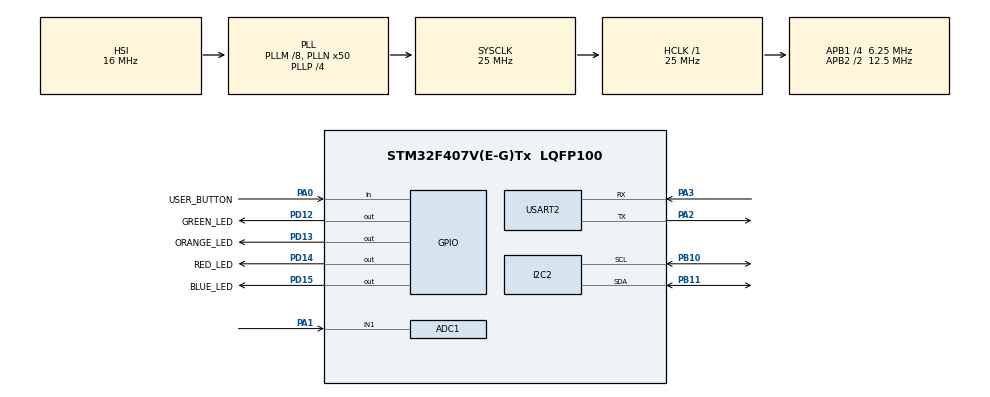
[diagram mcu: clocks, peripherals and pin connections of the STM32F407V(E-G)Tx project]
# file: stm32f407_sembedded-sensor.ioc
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ADC1.Channel-0\#ChannelRegularConversion=ADC_CHANNEL_1
ADC1.NbrOfConversionFlag=1
ADC1.Rank-0\#ChannelRegularConversion=1
ADC1.SamplingTime-0\#ChannelRegularConversion=ADC_SAMPLETIME_144CYCLES
ADC1.master=1
Mcu.Family=STM32F4
Mcu.Name=STM32F407V(E-G)Tx
Mcu.Package=LQFP100
NVIC.PriorityGroup=NVIC_PRIORITYGROUP_0
PA0-WKUP.GPIO_Label=USER_BUTTON
PA0-WKUP.Signal=GPIO_Input
PA1.Signal=ADCx_IN1
PA2.Mode=Asynchronous
PA2.Signal=USART2_TX
PA3.Mode=Asynchronous
PA3.Signal=USART2_RX
PB10.Mode=I2C
PB10.Signal=I2C2_SCL
PB11.Mode=I2C
PB11.Signal=I2C2_SDA
PD12.GPIO_Label=GREEN_LED
PD12.Signal=GPIO_Output
PD13.GPIO_Label=ORANGE_LED
PD13.Signal=GPIO_Output
PD14.GPIO_Label=RED_LED
PD14.Signal=GPIO_Output
PD15.GPIO_Label=BLUE_LED
PD15.Signal=GPIO_Output
ProjectManager.HeapSize=0x200
ProjectManager.StackSize=0x400
ProjectManager.TargetToolchain=STM32CubeIDE
RCC.48MHZClocksFreq_Value=14285714.285714285
RCC.AHBFreq_Value=25000000
RCC.APB1CLKDivider=RCC_HCLK_DIV4
RCC.APB1Freq_Value=6250000
RCC.APB1TimFreq_Value=12500000
RCC.APB2CLKDivider=RCC_HCLK_DIV2
RCC.APB2Freq_Value=12500000
RCC.APB2TimFreq_Value=25000000
RCC.CortexFreq_Value=25000000
RCC.HCLKFreq_Value=25000000
RCC.HSE_VALUE=8000000
RCC.HSI_VALUE=16000000
RCC.LSE_VALUE=32768
RCC.PLLM=8
RCC.PLLN=50
RCC.PLLP=RCC_PLLP_DIV4
RCC.PLLQ=7
RCC.SYSCLKFreq_VALUE=25000000
RCC.SYSCLKSource=RCC_SYSCLKSOURCE_PLLCLK
RCC.VCOOutputFreq_Value=100000000
SH.ADCx_IN1.0=ADC1_IN1,IN1
USART2.VirtualMode=VM_ASYNC
board=STM32F407G-DISC1

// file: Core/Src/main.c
/* USER CODE BEGIN Header */
/**
  ******************************************************************************
  * @file           : main.c
  * @brief          : Main program body
  ******************************************************************************
  * @attention
  *
  * Copyright (c) 2026 STMicroelectronics.
  * All rights reserved.
  *
  * This software is licensed under terms that can be found in the LICENSE file
  * in the root directory of this software component.
  * If no LICENSE file comes with this software, it is provided AS-IS.
  *
  ******************************************************************************
  */
/* USER CODE END Header */
#include "main.h"
#include "adc.h"
#include "i2c.h"
#include "usart.h"
#include "gpio.h"

/* USER CODE BEGIN Includes */

#include <stdio.h>
#include <string.h>

/* USER CODE END Includes */

/* USER CODE BEGIN PTD */

typedef enum {
	ADC_LOW,
	ADC_OK,
	ADC_HIGH,
	ADC_ERROR
} AdcSituation_t;

typedef struct
{
    uint16_t dig_T1;
    int16_t  dig_T2;
    int16_t  dig_T3;

    uint16_t dig_P1;
    int16_t  dig_P2;
    int16_t  dig_P3;
    int16_t  dig_P4;
    int16_t  dig_P5;
    int16_t  dig_P6;
    int16_t  dig_P7;
    int16_t  dig_P8;
    int16_t  dig_P9;
} BMP280_CalibData_t;

typedef struct
{
    int32_t raw_temperature;
    int32_t raw_pressure;
} BMP280_RawData_t;

/* USER CODE END PTD */

/* USER CODE BEGIN PD */

#define UART_LOG_INTERVAL_MS		1000
#define ADC_SAMPLE_COUNT 			10
#define BME280_I2C_ADDR         	(0x77 << 1)
#define BME280_REG_CHIP_ID      	0xD0
#define BME280_CHIP_ID  			0x60
#define BMP280_CHIP_ID          	0x58
#define BMP280_REG_CALIB_START		0x88
#define BMP280_CALIB_DATA_LENGTH	24

#define BMP280_REG_STATUS           0xF3
#define BMP280_REG_CTRL_MEAS        0xF4
#define BMP280_REG_CONFIG           0xF5
#define BMP280_REG_PRESS_MSB        0xF7

#define BMP280_CONFIG_VALUE         0x00
#define BMP280_CTRL_MEAS_FORCED     0x25

#define BMP280_CTRL_MEAS_VALUE      0x27
#define BMP280_RAW_DATA_LENGTH      6

#define BMP280_REG_RESET      0xE0
#define BMP280_RESET_VALUE    0xB6

/* USER CODE END PD */

/* USER CODE BEGIN PV */

BMP280_CalibData_t bmp280_calib;

/* USER CODE END PV */

void SystemClock_Config(void);

/* USER CODE BEGIN 0 */

HAL_StatusTypeDef bmp280_read_register(uint8_t reg_addr, uint8_t *value)
{
    return HAL_I2C_Mem_Read(
        &hi2c2,
        BME280_I2C_ADDR,
        reg_addr,
        I2C_MEMADD_SIZE_8BIT,
        value,
        1,
        HAL_MAX_DELAY
    );
}

void print_bmp280_debug_registers(void)
{
    uint8_t status = 0;
    uint8_t ctrl_meas = 0;
    uint8_t config = 0;
    char buffer[120];

    bmp280_read_register(BMP280_REG_STATUS, &status);
    bmp280_read_register(BMP280_REG_CTRL_MEAS, &ctrl_meas);
    bmp280_read_register(BMP280_REG_CONFIG, &config);

    int len = snprintf(
        buffer,
        sizeof(buffer),
        "BMP280 regs: status=0x%02X, ctrl_meas=0x%02X, config=0x%02X\r\n",
        status,
        ctrl_meas,
        config
    );

    HAL_UART_Transmit(&huart2, (uint8_t*)buffer, len, HAL_MAX_DELAY);
}

HAL_StatusTypeDef bmp280_write_register(uint8_t reg_addr, uint8_t value)
{
    return HAL_I2C_Mem_Write(
        &hi2c2,
        BME280_I2C_ADDR,
        reg_addr,
        I2C_MEMADD_SIZE_8BIT,
        &value,
        1,
        HAL_MAX_DELAY
    );
}

HAL_StatusTypeDef bmp280_soft_reset(void)
{
    return bmp280_write_register(BMP280_REG_RESET, BMP280_RESET_VALUE);
}

HAL_StatusTypeDef bmp280_configure(void)
{
    return bmp280_write_register(BMP280_REG_CONFIG, BMP280_CONFIG_VALUE);
}

HAL_StatusTypeDef bmp280_trigger_forced_measurement(void)
{
    return bmp280_write_register(BMP280_REG_CTRL_MEAS, BMP280_CTRL_MEAS_FORCED);
}

HAL_StatusTypeDef bmp280_read_raw_data(BMP280_RawData_t *raw_data)
{
    uint8_t raw_buffer[BMP280_RAW_DATA_LENGTH];

    HAL_StatusTypeDef result = HAL_I2C_Mem_Read(
        &hi2c2,
        BME280_I2C_ADDR,
        BMP280_REG_PRESS_MSB,
        I2C_MEMADD_SIZE_8BIT,
        raw_buffer,
        BMP280_RAW_DATA_LENGTH,
        HAL_MAX_DELAY
    );

    if (result != HAL_OK)
    {
        return result;
    }

    char dbg[120];

    int dbg_len = snprintf(
        dbg,
        sizeof(dbg),
        "raw bytes: %02X %02X %02X %02X %02X %02X\r\n",
        raw_buffer[0],
        raw_buffer[1],
        raw_buffer[2],
        raw_buffer[3],
        raw_buffer[4],
        raw_buffer[5]
    );

    HAL_UART_Transmit(&huart2, (uint8_t*)dbg, dbg_len, HAL_MAX_DELAY);

    raw_data->raw_pressure =
        ((int32_t)raw_buffer[0] << 12) |
        ((int32_t)raw_buffer[1] << 4)  |
        ((int32_t)raw_buffer[2] >> 4);

    raw_data->raw_temperature =
        ((int32_t)raw_buffer[3] << 12) |
        ((int32_t)raw_buffer[4] << 4)  |
        ((int32_t)raw_buffer[5] >> 4);

    return HAL_OK;
}

void print_bmp280_raw_data(const BMP280_RawData_t *raw_data)
{
    char buffer[120];

    int len = snprintf(
        buffer,
        sizeof(buffer),
        "BMP280 raw: temp=%ld, press=%ld\r\n",
        (long)raw_data->raw_temperature,
        (long)raw_data->raw_pressure
    );

    HAL_UART_Transmit(&huart2, (uint8_t*)buffer, len, HAL_MAX_DELAY);
}

uint16_t u16_from_lsb_msb(uint8_t lsb, uint8_t msb)
{
    return (uint16_t)((uint16_t)msb << 8 | lsb);
}

int16_t s16_from_lsb_msb(uint8_t lsb, uint8_t msb)
{
    return (int16_t)((uint16_t)msb << 8 | lsb);
}

HAL_StatusTypeDef bmp280_read_calibration(BMP280_CalibData_t *calib)
{
    uint8_t calib_raw[BMP280_CALIB_DATA_LENGTH];

    HAL_StatusTypeDef result = HAL_I2C_Mem_Read(
        &hi2c2,
        BME280_I2C_ADDR,
        BMP280_REG_CALIB_START,
        I2C_MEMADD_SIZE_8BIT,
        calib_raw,
        BMP280_CALIB_DATA_LENGTH,
        HAL_MAX_DELAY
    );

    if (result != HAL_OK)
    {
        return result;
    }

    calib->dig_T1 = u16_from_lsb_msb(calib_raw[0],  calib_raw[1]);
    calib->dig_T2 = s16_from_lsb_msb(calib_raw[2],  calib_raw[3]);
    calib->dig_T3 = s16_from_lsb_msb(calib_raw[4],  calib_raw[5]);

    calib->dig_P1 = u16_from_lsb_msb(calib_raw[6],  calib_raw[7]);
    calib->dig_P2 = s16_from_lsb_msb(calib_raw[8],  calib_raw[9]);
    calib->dig_P3 = s16_from_lsb_msb(calib_raw[10], calib_raw[11]);
    calib->dig_P4 = s16_from_lsb_msb(calib_raw[12], calib_raw[13]);
    calib->dig_P5 = s16_from_lsb_msb(calib_raw[14], calib_raw[15]);
    calib->dig_P6 = s16_from_lsb_msb(calib_raw[16], calib_raw[17]);
    calib->dig_P7 = s16_from_lsb_msb(calib_raw[18], calib_raw[19]);
    calib->dig_P8 = s16_from_lsb_msb(calib_raw[20], calib_raw[21]);
    calib->dig_P9 = s16_from_lsb_msb(calib_raw[22], calib_raw[23]);

    return HAL_OK;
}

void print_bmp280_calibration(const BMP280_CalibData_t *calib)
{
    char buffer[120];

    char title[] = "BMP280 calibration data:\r\n";
    HAL_UART_Transmit(&huart2, (uint8_t*)title, strlen(title), HAL_MAX_DELAY);

    int len = snprintf(buffer, sizeof(buffer), "dig_T1=%u\r\n", calib->dig_T1);
    HAL_UART_Transmit(&huart2, (uint8_t*)buffer, len, HAL_MAX_DELAY);

    len = snprintf(buffer, sizeof(buffer), "dig_T2=%d\r\n", calib->dig_T2);
    HAL_UART_Transmit(&huart2, (uint8_t*)buffer, len, HAL_MAX_DELAY);

    len = snprintf(buffer, sizeof(buffer), "dig_T3=%d\r\n", calib->dig_T3);
    HAL_UART_Transmit(&huart2, (uint8_t*)buffer, len, HAL_MAX_DELAY);

    len = snprintf(buffer, sizeof(buffer), "dig_P1=%u\r\n", calib->dig_P1);
    HAL_UART_Transmit(&huart2, (uint8_t*)buffer, len, HAL_MAX_DELAY);

    len = snprintf(buffer, sizeof(buffer), "dig_P2=%d\r\n", calib->dig_P2);
    HAL_UART_Transmit(&huart2, (uint8_t*)buffer, len, HAL_MAX_DELAY);

    len = snprintf(buffer, sizeof(buffer), "dig_P3=%d\r\n", calib->dig_P3);
    HAL_UART_Transmit(&huart2, (uint8_t*)buffer, len, HAL_MAX_DELAY);

    len = snprintf(buffer, sizeof(buffer), "dig_P4=%d\r\n", calib->dig_P4);
    HAL_UART_Transmit(&huart2, (uint8_t*)buffer, len, HAL_MAX_DELAY);

    len = snprintf(buffer, sizeof(buffer), "dig_P5=%d\r\n", calib->dig_P5);
    HAL_UART_Transmit(&huart2, (uint8_t*)buffer, len, HAL_MAX_DELAY);

    len = snprintf(buffer, sizeof(buffer), "dig_P6=%d\r\n", calib->dig_P6);
    HAL_UART_Transmit(&huart2, (uint8_t*)buffer, len, HAL_MAX_DELAY);

    len = snprintf(buffer, sizeof(buffer), "dig_P7=%d\r\n", calib->dig_P7);
    HAL_UART_Transmit(&huart2, (uint8_t*)buffer, len, HAL_MAX_DELAY);

    len = snprintf(buffer, sizeof(buffer), "dig_P8=%d\r\n", calib->dig_P8);
    HAL_UART_Transmit(&huart2, (uint8_t*)buffer, len, HAL_MAX_DELAY);

    len = snprintf(buffer, sizeof(buffer), "dig_P9=%d\r\n", calib->dig_P9);
    HAL_UART_Transmit(&huart2, (uint8_t*)buffer, len, HAL_MAX_DELAY);
}

uint16_t read_adc_average(void)
{
	uint32_t adc_sum = 0;

	for (uint8_t i = 0; i < ADC_SAMPLE_COUNT; i++)
	{
		HAL_ADC_Start(&hadc1);

		if (HAL_ADC_PollForConversion(&hadc1, 10) == HAL_OK)
		{
			adc_sum = adc_sum + HAL_ADC_GetValue(&hadc1);
		}

		HAL_ADC_Stop(&hadc1);
	}

	return (uint16_t)(adc_sum/ADC_SAMPLE_COUNT);
}

uint8_t read_user_button(void)
{
	if (HAL_GPIO_ReadPin(USER_BUTTON_GPIO_Port, USER_BUTTON_Pin) == GPIO_PIN_SET)
	{
		return 1;
	}

	else
	{
		return 0;
	}
}

AdcSituation_t adc_situation(uint32_t adc_mv)
{
	if (adc_mv < 500U) return ADC_LOW;

	else if (adc_mv <= 3000U) return ADC_OK;

	else if (adc_mv <= 3300U) return ADC_HIGH;

	else return ADC_ERROR;
}

const char* get_situation_char(AdcSituation_t situation)
{
	switch (situation)
	{
	case ADC_LOW: return "LOW";

	case ADC_OK: return "OK";

	case ADC_HIGH: return "HIGH";

	case ADC_ERROR: return "ERROR";

	default: return "UNKNOWN";
	}
}

uint32_t convert_mv(uint16_t adc_raw)
{
	return ((uint32_t)adc_raw * 3300U) / 4095U;
}

void turnoff_leds(void)
{
	HAL_GPIO_WritePin(GREEN_LED_GPIO_Port, GREEN_LED_Pin, GPIO_PIN_RESET);
	HAL_GPIO_WritePin(ORANGE_LED_GPIO_Port, ORANGE_LED_Pin, GPIO_PIN_RESET);
	HAL_GPIO_WritePin(RED_LED_GPIO_Port, RED_LED_Pin, GPIO_PIN_RESET);
	HAL_GPIO_WritePin(BLUE_LED_GPIO_Port, BLUE_LED_Pin, GPIO_PIN_RESET);
}

void update_situation_led(AdcSituation_t status)
{
	turnoff_leds();

	switch(status)
	{
	case ADC_LOW: HAL_GPIO_WritePin(BLUE_LED_GPIO_Port, BLUE_LED_Pin, GPIO_PIN_SET); break;

	case ADC_OK: HAL_GPIO_WritePin(GREEN_LED_GPIO_Port, GREEN_LED_Pin, GPIO_PIN_SET); break;

	case ADC_HIGH: HAL_GPIO_WritePin(ORANGE_LED_GPIO_Port, ORANGE_LED_Pin, GPIO_PIN_SET); break;

	case ADC_ERROR: HAL_GPIO_WritePin(RED_LED_GPIO_Port, RED_LED_Pin, GPIO_PIN_SET); break;

	default: HAL_GPIO_WritePin(RED_LED_GPIO_Port, RED_LED_Pin, GPIO_PIN_SET); break;
	}
}

void scan_i2c_devices(void)
{
	char buffer[80];

	char start_msg[] = "I2C scan started\r\n";
	HAL_UART_Transmit(&huart2, (uint8_t* )start_msg, strlen(start_msg), HAL_MAX_DELAY);

	for (uint8_t address = 1; address < 128; address++)
	{
		if (HAL_I2C_IsDeviceReady(&hi2c2, (address << 1), 1, 10) == HAL_OK)
		{
			int len = snprintf(
					buffer,
					sizeof(buffer),
					"Device found at 0x%02X\r\n",
					address
					);

			HAL_UART_Transmit(&huart2, (uint8_t* )buffer, len, HAL_MAX_DELAY);
		}
	}

	char end_msg[] = "I2C scan finished\r\n";
	HAL_UART_Transmit(&huart2, (uint8_t* )end_msg, strlen(end_msg), HAL_MAX_DELAY);
}

HAL_StatusTypeDef bme280_read_chip_id(uint8_t *chip_id)
{
	return HAL_I2C_Mem_Read(
			&hi2c2,
			BME280_I2C_ADDR,
			BME280_REG_CHIP_ID,
			I2C_MEMADD_SIZE_8BIT,
			chip_id,
			1,
			HAL_MAX_DELAY);
}

void print_bme280_chip_id(void)
{
	uint8_t chip_id = 0;

	char buffer[100];

	HAL_StatusTypeDef result = bme280_read_chip_id(&chip_id);

	if (result == HAL_OK)
	{
		int len = snprintf(
				buffer,
				sizeof(buffer),
				"Chip ID: 0x%02X\r\n",
				chip_id);

		HAL_UART_Transmit(&huart2, (uint8_t* )buffer, len, HAL_MAX_DELAY);

		if (chip_id == BME280_CHIP_ID)
		{
			char ok_msg[] = "Sensor detected: BME280\r\n";
			HAL_UART_Transmit(&huart2, (uint8_t* )ok_msg, strlen(ok_msg), HAL_MAX_DELAY);
		}

		else if (chip_id == BMP280_CHIP_ID)
		{
			char ok_msg[] = "Sensor detected: BMP280\r\n";
			HAL_UART_Transmit(&huart2, (uint8_t* )ok_msg, strlen(ok_msg), HAL_MAX_DELAY);
		}

		else
		{
			char error_msg[] = "Sensor detected: UNKNOWN\r\n";
			HAL_UART_Transmit(&huart2, (uint8_t* )error_msg, strlen(error_msg), HAL_MAX_DELAY);
		}
	}

	else
	{
		char failed_msg[] = "BME280 chip ID read failed\r\n";
		HAL_UART_Transmit(&huart2, (uint8_t* )failed_msg, strlen(failed_msg), HAL_MAX_DELAY);
	}
}

void send_uart_head(void)
{
	char header[] = "timestamp_ms,adc_raw,adc_mv,button,status\r\n";
	HAL_UART_Transmit(&huart2, (uint8_t*)header, sizeof(header) - 1, 100);
}

void send_sensor_log(uint32_t timestamp_t, uint16_t adc_raw, uint32_t adc_mv, uint8_t button, AdcSituation_t situation)
{
	char buffer[100];

	const char *situation_char = get_situation_char(situation);

	int len = snprintf(
			buffer,
			sizeof(buffer),
			"%lu,%u,%lu,%u,%s\r\n",
			(unsigned long)timestamp_t,
			adc_raw,
			(unsigned long)adc_mv,
			button,
			situation_char
			);

	HAL_UART_Transmit(&huart2, (uint8_t*)buffer, len, HAL_MAX_DELAY);
}

/* USER CODE END 0 */

int main(void)
{

  /* MCU Configuration--------------------------------------------------------*/

  /* Reset of all peripherals, Initializes the Flash interface and the Systick. */
  HAL_Init();

  /* Configure the system clock */
  SystemClock_Config();

  /* Initialize all configured peripherals */
  MX_GPIO_Init();
  MX_ADC1_Init();
  MX_USART2_UART_Init();
  MX_I2C2_Init();
  /* USER CODE BEGIN 2 */

  uint32_t last_log_time = 0;

  char boot_msg[] = "\r\n--- BOOT ---\r\n";
  HAL_UART_Transmit(&huart2, (uint8_t*)boot_msg, strlen(boot_msg), HAL_MAX_DELAY);

  scan_i2c_devices();

  print_bme280_chip_id();

  if (bmp280_soft_reset() == HAL_OK)
  {
      char msg[] = "BMP280 soft reset: OK\r\n";
      HAL_UART_Transmit(&huart2, (uint8_t*)msg, strlen(msg), HAL_MAX_DELAY);
      HAL_Delay(100);
  }
  else
  {
      char msg[] = "BMP280 soft reset: ERROR\r\n";
      HAL_UART_Transmit(&huart2, (uint8_t*)msg, strlen(msg), HAL_MAX_DELAY);
  }

  if (bmp280_read_calibration(&bmp280_calib) == HAL_OK)
  {
      print_bmp280_calibration(&bmp280_calib);
  }
  else
  {
      char msg[] = "BMP280 calibration read failed\r\n";
      HAL_UART_Transmit(&huart2, (uint8_t*)msg, strlen(msg), HAL_MAX_DELAY);
  }

  if (bmp280_configure() == HAL_OK)
  {
      char msg[] = "BMP280 configure: OK\r\n";
      HAL_UART_Transmit(&huart2, (uint8_t*)msg, strlen(msg), HAL_MAX_DELAY);
  }
  else
  {
      char msg[] = "BMP280 configure: ERROR\r\n";
      HAL_UART_Transmit(&huart2, (uint8_t*)msg, strlen(msg), HAL_MAX_DELAY);
  }

  send_uart_head();

  /* USER CODE END 2 */

  /* Infinite loop */
  while (1)
  {

    /* USER CODE BEGIN 3 */
	  uint32_t now = HAL_GetTick();

	  if ((now - last_log_time) >= UART_LOG_INTERVAL_MS)
	  {
	      uint8_t button = read_user_button();
		  uint16_t adc_raw = read_adc_average();
		  uint32_t adc_mv = convert_mv(adc_raw);
		  AdcSituation_t current_situation = adc_situation(adc_mv);

		  update_situation_led(current_situation);

		  send_sensor_log(now, adc_raw, adc_mv, button, current_situation);

		  BMP280_RawData_t bmp280_raw;

		  if (bmp280_trigger_forced_measurement() == HAL_OK)
		  {
		      print_bmp280_debug_registers();

		      HAL_Delay(50);

		      print_bmp280_debug_registers();

		      if (bmp280_read_raw_data(&bmp280_raw) == HAL_OK)
		      {
		          print_bmp280_raw_data(&bmp280_raw);
		      }
		      else
		      {
		          char msg[] = "BMP280 raw read failed\r\n";
		          HAL_UART_Transmit(&huart2, (uint8_t*)msg, strlen(msg), HAL_MAX_DELAY);
		      }
		  }
		  else
		  {
		      char msg[] = "BMP280 forced measurement failed\r\n";
		      HAL_UART_Transmit(&huart2, (uint8_t*)msg, strlen(msg), HAL_MAX_DELAY);
		  }

		  last_log_time = now;
	  }

  }
  /* USER CODE END 3 */
}

void SystemClock_Config(void)
{
  RCC_OscInitTypeDef RCC_OscInitStruct = {0};
  RCC_ClkInitTypeDef RCC_ClkInitStruct = {0};

  /** Configure the main internal regulator output voltage
  */
  __HAL_RCC_PWR_CLK_ENABLE();
  __HAL_PWR_VOLTAGESCALING_CONFIG(PWR_REGULATOR_VOLTAGE_SCALE1);

  /** Initializes the RCC Oscillators according to the specified parameters
  * in the RCC_OscInitTypeDef structure.
  */
  RCC_OscInitStruct.OscillatorType = RCC_OSCILLATORTYPE_HSI;
  RCC_OscInitStruct.HSIState = RCC_HSI_ON;
  RCC_OscInitStruct.HSICalibrationValue = RCC_HSICALIBRATION_DEFAULT;
  RCC_OscInitStruct.PLL.PLLState = RCC_PLL_ON;
  RCC_OscInitStruct.PLL.PLLSource = RCC_PLLSOURCE_HSI;
  RCC_OscInitStruct.PLL.PLLM = 8;
  RCC_OscInitStruct.PLL.PLLN = 50;
  RCC_OscInitStruct.PLL.PLLP = RCC_PLLP_DIV4;
  RCC_OscInitStruct.PLL.PLLQ = 7;
  if (HAL_RCC_OscConfig(&RCC_OscInitStruct) != HAL_OK)
  {
    Error_Handler();
  }

  /** Initializes the CPU, AHB and APB buses clocks
  */
  RCC_ClkInitStruct.ClockType = RCC_CLOCKTYPE_HCLK|RCC_CLOCKTYPE_SYSCLK
                              |RCC_CLOCKTYPE_PCLK1|RCC_CLOCKTYPE_PCLK2;
  RCC_ClkInitStruct.SYSCLKSource = RCC_SYSCLKSOURCE_PLLCLK;
  RCC_ClkInitStruct.AHBCLKDivider = RCC_SYSCLK_DIV1;
  RCC_ClkInitStruct.APB1CLKDivider = RCC_HCLK_DIV4;
  RCC_ClkInitStruct.APB2CLKDivider = RCC_HCLK_DIV2;

  if (HAL_RCC_ClockConfig(&RCC_ClkInitStruct, FLASH_LATENCY_0) != HAL_OK)
  {
    Error_Handler();
  }
}

void Error_Handler(void)
{
  __disable_irq();
  while (1)
  {
  }
}
